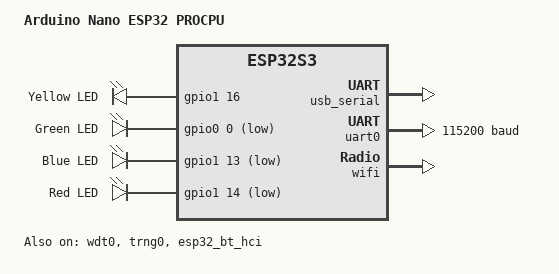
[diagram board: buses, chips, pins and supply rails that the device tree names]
/*
 * Arduino Nano ESP32 (ABX00083) – PROCPU devicetree.
 *
 * u-blox NORA-W106 module (ESP32-S3R8, 8 MB PSRAM) with 16 MB external flash.
 * Schematic: ABX00083-schematics.pdf. Verified facts are collected in docs/zephyr_port.md.
 */
/dts-v1/;

/* Chip with 16 MB flash and 8 MB PSRAM – matches the NORA-W106 (devkitc uses the 8 MB N8). */
#include <espressif/esp32s3/esp32s3_wroom_n16r8.dtsi>
#include <espressif/partitions_0x0_amp.dtsi>
#include <zephyr/dt-bindings/gpio/gpio.h>
#include "arduino_nano_esp32-pinctrl.dtsi"
#include "arduino_nano_connector.dtsi"

/ {
	model = "Arduino Nano ESP32 PROCPU";
	compatible = "arduino,nano-esp32", "espressif,esp32s3";

	chosen {
		/* System memory and flash layout (same as esp32s3_devkitc). */
		zephyr,sram = &sram1;
		zephyr,flash = &flash0;
		zephyr,code-partition = &slot0_partition;
		zephyr,bt-hci = &esp32_bt_hci;

		/* Console and shell on the USB-C port (USB-Serial/JTAG) – the board has no USB-UART chip. */
		zephyr,console = &usb_serial;
		zephyr,shell-uart = &usb_serial;
	};

	aliases {
		led0 = &yellow_led;
		led1 = &green_led;
		led2 = &blue_led;
		led3 = &red_led;
		i2c-0 = &i2c0;
		watchdog0 = &wdt0;
		uart-0 = &uart0;
	};

	/*
	 * On-board LEDs.
	 *   - Yellow ("SCK LED"): driven through an N-channel MOSFET, gate high = on -> active high.
	 *     Same pin as D13 / SPI SCK, so it flickers while SPI is in use.
	 *   - RGB: common anode to 3V3, a pin driven low turns its colour on -> active low.
	 *     The colour of each pin was found by testing (the schematic does not say).
	 * GPIO0 (green) and GPIO46 (red) are boot strapping pins (GPIO0 low at reset = download mode).
	 */
	leds {
		compatible = "gpio-leds";

		yellow_led: led_0 {
			gpios = <&gpio1 16 GPIO_ACTIVE_HIGH>; /* GPIO48 */
			label = "Yellow LED";
		};

		green_led: led_1 {
			gpios = <&gpio0 0 GPIO_ACTIVE_LOW>; /* GPIO0 */
			label = "Green LED";
		};

		blue_led: led_2 {
			gpios = <&gpio1 13 GPIO_ACTIVE_LOW>; /* GPIO45 */
			label = "Blue LED";
		};

		red_led: led_3 {
			gpios = <&gpio1 14 GPIO_ACTIVE_LOW>; /* GPIO46 */
			label = "Red LED";
		};
	};
};

/* USB-C goes straight to the ESP32-S3's USB-Serial/JTAG peripheral (the console). */
&usb_serial {
	status = "okay";
};

/* UART0 on D0 (RX) / D1 (TX): Arduino's "Serial1" on the header – not the console. */
&uart0 {
	status = "okay";
	current-speed = <115200>;
	pinctrl-0 = <&uart0_default>;
	pinctrl-names = "default";
};

/*
 * I2C on A4/A5 and SPI on D11-D13 are configured but disabled. An app that uses a bus enables it
 * in its overlay (status = "okay"). Until then the bus costs no memory or power, and its pins stay
 * free for GPIO or ADC.
 */
&i2c0 {
	status = "disabled";
	clock-frequency = <I2C_BITRATE_STANDARD>;
	pinctrl-0 = <&i2c0_default>;
	pinctrl-names = "default";
};

&spi2 {
	status = "disabled";
	#address-cells = <1>;
	#size-cells = <0>;
	pinctrl-0 = <&spim2_default>;
	pinctrl-names = "default";
};

/* ------------------------------------------------------------------------------------------------
 * System peripherals (same as esp32s3_devkitc – nothing Nano-specific below this line).
 * ------------------------------------------------------------------------------------------------
 */

&gpio0 {
	status = "okay";
};

&gpio1 {
	status = "okay";
};

&wdt0 {
	status = "okay";
};

&trng0 {
	status = "okay";
};

&esp32_bt_hci {
	status = "okay";
};

&wifi {
	status = "okay";
};

/* General purpose hardware timers (TIMG): available through the counter API, off by default. */
&timer0 {
	status = "disabled";
};

&timer1 {
	status = "disabled";
};

&timer2 {
	status = "disabled";
};

&timer3 {
	status = "disabled";
};
